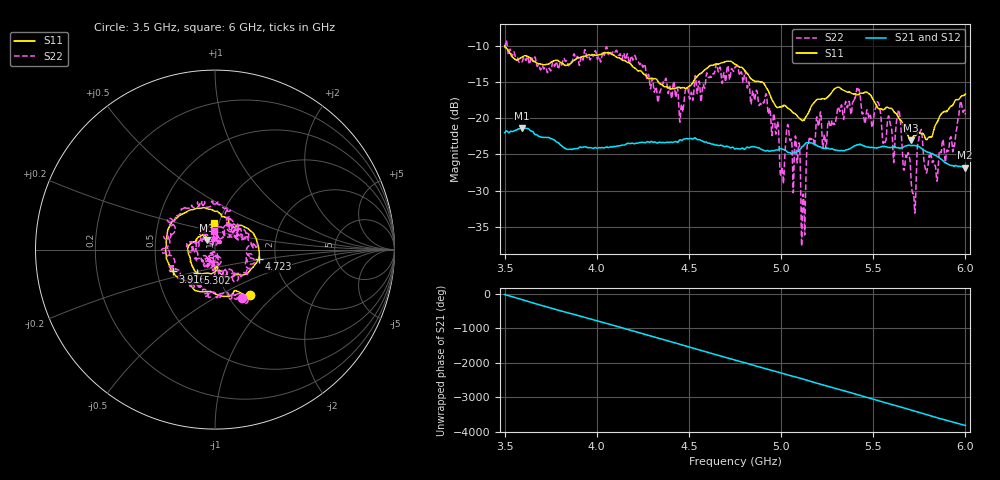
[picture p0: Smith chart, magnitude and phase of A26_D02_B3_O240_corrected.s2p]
! Created with skrf 1.9.0 (http://scikit-rf.org).
# Hz S RI R 50.0
!freq ReS11 ImS11 ReS21 ImS21 ReS12 ImS12 ReS22 ImS22
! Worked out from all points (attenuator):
!   1601 points, 3.5 GHz to 6 GHz, reference 50 ohm
!   highest |S21| = -21.34 dB at 3.594 GHz (marker M1); lowest = -26.8 dB at 5.995 GHz (marker M2)
!   lowest |S11| = -23.0 dB at 5.703 GHz (marker M3), VSWR 1.15, Z = 45.3 + j4.85 ohm
!   |S11| at or under -10 dB: 3.501 GHz to end of sweep
!   |S22| runs from -37.7 to -9.2 dB; largest |S21 - S12| = 0.00091
!   S11 on the Smith chart (normalised r, x): 3.5 GHz: 1.25, -0.71; 3.916 GHz: 0.60, -0.16; 4.723 GHz: 1.63, -0.19; 5.302 GHz: 0.79, -0.21; 6 GHz: 0.95, +0.29
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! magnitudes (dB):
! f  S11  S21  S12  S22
! 3.5 GHz  -10.0  -22.0  -22.0  -10.3
! 3.594 GHz  -11.5  -21.3  -21.4  -12.2
! 3.916 GHz  -11.5  -24.0  -24.0  -11.5
! 3.917 GHz  -11.5  -24.0  -24.0  -11.4
! 4.334 GHz  -15.0  -23.4  -23.3  -17.6
! 4.723 GHz  -12.1  -24.1  -24.0  -14.5
! 4.75 GHz  -12.5  -24.2  -24.2  -12.9
! 4.927 GHz  -16.0  -24.4  -24.4  -18.4
! 5.005 GHz  -18.3  -24.3  -24.3  -26.7
! 5.036 GHz  -18.6  -24.7  -24.6  -20.9
! 5.088 GHz  -19.7  -24.6  -24.6  -26.2
! 5.12 GHz  -20.3  -23.8  -23.8  -30.5
! 5.167 GHz  -18.2  -23.4  -23.4  -22.9
! 5.302 GHz  -15.7  -24.4  -24.4  -19.6
! 5.584 GHz  -18.6  -24.0  -24.0  -19.7
! 5.639 GHz  -20.0  -24.1  -24.1  -18.8
! 5.703 GHz  -23.0  -23.8  -23.7  -27.3
! 5.722 GHz  -22.4  -23.8  -23.7  -31.3
! 5.753 GHz  -22.1  -24.0  -23.9  -22.1
! 5.841 GHz  -20.8  -25.2  -25.1  -27.4
! 5.995 GHz  -16.7  -26.8  -26.8  -18.9
! 6 GHz  -16.6  -26.8  -26.8  -19.5
